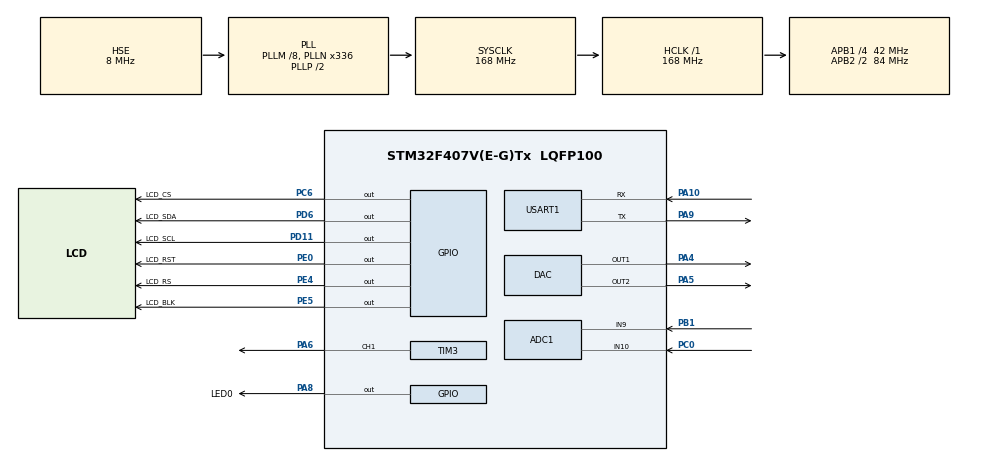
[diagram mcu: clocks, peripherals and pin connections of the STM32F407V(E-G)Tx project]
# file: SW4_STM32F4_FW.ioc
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ADC1.Channel-0\#ChannelRegularConversion=ADC_CHANNEL_9
ADC1.Channel-1\#ChannelRegularConversion=ADC_CHANNEL_10
ADC1.Channel-2\#ChannelRegularConversion=ADC_CHANNEL_TEMPSENSOR
ADC1.ContinuousConvMode=ENABLE
ADC1.DMAContinuousRequests=ENABLE
ADC1.NbrOfConversion=3
ADC1.NbrOfConversionFlag=1
ADC1.Rank-0\#ChannelRegularConversion=1
ADC1.Rank-1\#ChannelRegularConversion=2
ADC1.Rank-2\#ChannelRegularConversion=3
ADC1.SamplingTime-0\#ChannelRegularConversion=ADC_SAMPLETIME_3CYCLES
ADC1.SamplingTime-1\#ChannelRegularConversion=ADC_SAMPLETIME_3CYCLES
ADC1.SamplingTime-2\#ChannelRegularConversion=ADC_SAMPLETIME_3CYCLES
ADC1.ScanConvMode=ENABLE
ADC1.master=1
DAC.DAC_Trigger=DAC_TRIGGER_T6_TRGO
DAC.DAC_Trigger2=DAC_TRIGGER_T6_TRGO
DAC.TriangleAmplitude=DAC_TRIANGLEAMPLITUDE_255
DAC.WaveGeneration=TriangleWaveGeneration
Dma.ADC1.0.Direction=DMA_PERIPH_TO_MEMORY
Dma.ADC1.0.FIFOMode=DMA_FIFOMODE_DISABLE
Dma.ADC1.0.Instance=DMA2_Stream0
Dma.ADC1.0.MemDataAlignment=DMA_MDATAALIGN_HALFWORD
Dma.ADC1.0.MemInc=DMA_MINC_ENABLE
Dma.ADC1.0.Mode=DMA_NORMAL
Dma.ADC1.0.PeriphDataAlignment=DMA_PDATAALIGN_HALFWORD
Dma.ADC1.0.PeriphInc=DMA_PINC_DISABLE
Dma.ADC1.0.Priority=DMA_PRIORITY_LOW
Dma.DAC1.1.Direction=DMA_MEMORY_TO_PERIPH
Dma.DAC1.1.FIFOMode=DMA_FIFOMODE_DISABLE
Dma.DAC1.1.Instance=DMA1_Stream5
Dma.DAC1.1.MemDataAlignment=DMA_MDATAALIGN_HALFWORD
Dma.DAC1.1.MemInc=DMA_MINC_ENABLE
Dma.DAC1.1.Mode=DMA_NORMAL
Dma.DAC1.1.PeriphDataAlignment=DMA_PDATAALIGN_HALFWORD
Dma.DAC1.1.PeriphInc=DMA_PINC_DISABLE
Dma.DAC1.1.Priority=DMA_PRIORITY_LOW
Dma.DAC2.2.Direction=DMA_MEMORY_TO_PERIPH
Dma.DAC2.2.FIFOMode=DMA_FIFOMODE_DISABLE
Dma.DAC2.2.Instance=DMA1_Stream6
Dma.DAC2.2.MemDataAlignment=DMA_MDATAALIGN_HALFWORD
Dma.DAC2.2.MemInc=DMA_MINC_ENABLE
Dma.DAC2.2.Mode=DMA_CIRCULAR
Dma.DAC2.2.PeriphDataAlignment=DMA_PDATAALIGN_HALFWORD
Dma.DAC2.2.PeriphInc=DMA_PINC_DISABLE
Dma.DAC2.2.Priority=DMA_PRIORITY_LOW
Dma.Request0=ADC1
Dma.Request1=DAC1
Dma.Request2=DAC2
Mcu.Family=STM32F4
Mcu.Name=STM32F407V(E-G)Tx
Mcu.Package=LQFP100
NVIC.ADC_IRQn=true\:2\:0\:true\:false\:true\:true\:true
NVIC.DMA1_Stream5_IRQn=true\:0\:0\:false\:false\:true\:false\:true
NVIC.DMA1_Stream6_IRQn=true\:0\:0\:false\:false\:true\:false\:true
NVIC.DMA2_Stream0_IRQn=true\:1\:0\:true\:false\:true\:false\:true
NVIC.PriorityGroup=NVIC_PRIORITYGROUP_4
NVIC.TIM3_IRQn=true\:2\:0\:true\:false\:true\:true\:true
NVIC.USART1_IRQn=true\:1\:0\:true\:false\:true\:true\:true
PA10.Mode=Asynchronous
PA10.Signal=USART1_RX
PA13.Mode=Serial_Wire
PA13.Signal=SYS_JTMS-SWDIO
PA14.Mode=Serial_Wire
PA14.Signal=SYS_JTCK-SWCLK
PA4.Signal=COMP_DAC1_group
PA5.Signal=COMP_DAC2_group
PA6.Signal=S_TIM3_CH1
PA8.GPIO_Label=LED0
PA8.GPIO_PuPd=GPIO_PULLDOWN
PA8.PinState=GPIO_PIN_SET
PA8.Signal=GPIO_Output
PA9.Mode=Asynchronous
PA9.Signal=USART1_TX
PB1.Signal=ADCx_IN9
PC0.Signal=ADCx_IN10
PC14-OSC32_IN.Mode=LSE-External-Oscillator
PC14-OSC32_IN.Signal=RCC_OSC32_IN
PC15-OSC32_OUT.Mode=LSE-External-Oscillator
PC15-OSC32_OUT.Signal=RCC_OSC32_OUT
PC6.GPIO_Label=LCD_CS
PC6.GPIO_PuPd=GPIO_PULLUP
PC6.GPIO_Speed=GPIO_SPEED_FREQ_VERY_HIGH
PC6.PinState=GPIO_PIN_SET
PC6.Signal=GPIO_Output
PD11.GPIO_Label=LCD_SCL
PD11.GPIO_PuPd=GPIO_PULLUP
PD11.GPIO_Speed=GPIO_SPEED_FREQ_VERY_HIGH
PD11.PinState=GPIO_PIN_SET
PD11.Signal=GPIO_Output
PD6.GPIO_Label=LCD_SDA
PD6.GPIO_PuPd=GPIO_PULLUP
PD6.GPIO_Speed=GPIO_SPEED_FREQ_VERY_HIGH
PD6.PinState=GPIO_PIN_SET
PD6.Signal=GPIO_Output
PE0.GPIO_Label=LCD_RST
PE0.GPIO_PuPd=GPIO_PULLUP
PE0.GPIO_Speed=GPIO_SPEED_FREQ_VERY_HIGH
PE0.PinState=GPIO_PIN_SET
PE0.Signal=GPIO_Output
PE4.GPIO_Label=LCD_RS
PE4.GPIO_PuPd=GPIO_PULLUP
PE4.GPIO_Speed=GPIO_SPEED_FREQ_VERY_HIGH
PE4.PinState=GPIO_PIN_SET
PE4.Signal=GPIO_Output
PE5.GPIO_Label=LCD_BLK
PE5.GPIO_PuPd=GPIO_PULLUP
PE5.GPIO_Speed=GPIO_SPEED_FREQ_VERY_HIGH
PE5.PinState=GPIO_PIN_SET
PE5.Signal=GPIO_Output
PH0-OSC_IN.Mode=HSE-External-Oscillator
PH0-OSC_IN.Signal=RCC_OSC_IN
PH1-OSC_OUT.Mode=HSE-External-Oscillator
PH1-OSC_OUT.Signal=RCC_OSC_OUT
ProjectManager.HeapSize=0x200
ProjectManager.StackSize=0x400
ProjectManager.TargetToolchain=SW4STM32
RCC.48MHZClocksFreq_Value=84000000
RCC.AHBFreq_Value=168000000
RCC.APB1CLKDivider=RCC_HCLK_DIV4
RCC.APB1Freq_Value=42000000
RCC.APB1TimFreq_Value=84000000
RCC.APB2CLKDivider=RCC_HCLK_DIV2
RCC.APB2Freq_Value=84000000
RCC.APB2TimFreq_Value=168000000
RCC.CortexFreq_Value=168000000
RCC.HCLKFreq_Value=168000000
RCC.HSE_VALUE=8000000
RCC.HSI_VALUE=16000000
RCC.PLLM=8
RCC.PLLN=336
RCC.PLLSourceVirtual=RCC_PLLSOURCE_HSE
RCC.SYSCLKFreq_VALUE=168000000
RCC.SYSCLKSource=RCC_SYSCLKSOURCE_PLLCLK
RCC.VCOOutputFreq_Value=336000000
SH.ADCx_IN10.0=ADC1_IN10,IN10
SH.ADCx_IN9.0=ADC1_IN9,IN9
SH.COMP_DAC1_group.0=DAC_OUT1,DAC_OUT1
SH.COMP_DAC2_group.0=DAC_OUT2,DAC_OUT2
SH.S_TIM3_CH1.0=TIM3_CH1,PWM Generation1 CH1
TIM3.AutoReloadPreload=TIM_AUTORELOAD_PRELOAD_DISABLE
TIM3.Channel-PWM\ Generation1\ CH1=TIM_CHANNEL_1
TIM3.Period=999
TIM3.Prescaler=83
TIM3.Pulse-PWM\ Generation1\ CH1=0
TIM6.AutoReloadPreload=TIM_AUTORELOAD_PRELOAD_ENABLE
TIM6.Period=20
TIM6.TIM_MasterOutputTrigger=TIM_TRGO_UPDATE
USART1.VirtualMode=VM_ASYNC
VP_ADC1_TempSens_Input.Mode=IN-TempSens
VP_TIM3_VS_ClockSourceINT.Mode=Internal
VP_TIM6_VS_ClockSourceINT.Mode=Enable_Timer
board=custom

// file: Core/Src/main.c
/* USER CODE BEGIN Header */
/**
  ******************************************************************************
  * @file           : main.c
  * @brief          : Main program body
  ******************************************************************************
  * @attention
  *
  * <h2><center>&copy; Copyright (c) 2022 STMicroelectronics.
  * All rights reserved.</center></h2>
  *
  * This software component is licensed by ST under BSD 3-Clause license,
  * the "License"; You may not use this file except in compliance with the
  * License. You may obtain a copy of the License at:
  *                        opensource.org/licenses/BSD-3-Clause
  *
  ******************************************************************************
  */
/* USER CODE END Header */
#include "main.h"
#include "adc.h"
#include "dac.h"
#include "dma.h"
#include "tim.h"
#include "usart.h"
#include "gpio.h"

/* USER CODE BEGIN Includes */
#include "delay.h"
#include "GUI.h"
#include "Lcd_Driver.h"
#include "adc_function.h"
#include "ntc.h"
#include "fft.h"
#include "arm_math.h"
#include "dac_function.h"
/* USER CODE END Includes */

/* USER CODE BEGIN PV */
volatile uint16_t pulse = 0;
__IO uint8_t uart1_rx_buf[5];
__IO uint8_t Rx_Flag;

/* USER CODE END PV */

void SystemClock_Config(void);

int main(void)
{

  /* MCU Configuration--------------------------------------------------------*/

  /* Reset of all peripherals, Initializes the Flash interface and the Systick. */
  HAL_Init();

  /* Configure the system clock */
  SystemClock_Config();

  /* Initialize all configured peripherals */
  MX_GPIO_Init();
  MX_DMA_Init();
  MX_ADC1_Init();
  MX_DAC_Init();
  MX_TIM6_Init();
  MX_TIM3_Init();
  MX_USART1_UART_Init();
  /* USER CODE BEGIN 2 */
    //初始化液晶屏以及延时函数
    delay_init(168);
    Lcd_Init();
    LCD_BLK_SET;//开启背光
    Lcd_Clear(BLACK);
    //函数数组生成
    windows(1);//加窗并生成窗函数
    DSP_Sine();
    //启动定时器
    HAL_TIM_PWM_Start(&htim3, TIM_CHANNEL_1);
    HAL_TIM_Base_Start_IT(&htim3);
    HAL_TIM_Base_Start(&htim6);
    //三角波
    HAL_DAC_Start(&hdac, DAC_CHANNEL_1);
    //正弦波
    HAL_DAC_Start_DMA(&hdac, DAC_CHANNEL_2, (uint32_t *) DAC_Outputbuf, FFT_Len, DAC_ALIGN_12B_R);
    //启动ADC&&DAC
    HAL_ADC_Start_DMA(&hadc1, (uint32_t *) &ADC_Value, 768);
    //绘制静态数据
    Gui_DrawFont_GBK16(0, 0, WHITE, BLACK, "FW-FFT-SIG");
    Gui_DrawFont_GBK16(0, 20, YELLOW, BLACK, "MCU_TEMP:");
    Gui_DrawFont_GBK16(0, 36, YELLOW, BLACK, "NTC_TEMP:");
    Gui_DrawFont_GBK16(100, 36, YELLOW, BLACK, "℃");
    Gui_DrawFont_GBK16(100, 20, YELLOW, BLACK, "℃");
    //启动串口
    HAL_UART_Receive_IT(&huart1, (uint8_t *) uart1_rx_buf, 5);

  /* USER CODE END 2 */

  /* Infinite loop */
    while (1)
    {

    /* USER CODE BEGIN 3 */
        delay_ms(2);
        HAL_ADC_Stop_DMA(&hadc1);
        //采样&&发生
        ADC_FUNCTION();
        TEMP_DATA();
        //温度显示
        LCD_ShowNum(70, 20, MCU_TEMP, 3);//芯片温度
        LCD_ShowNum(70, 36, NTC_TEMP, 3);//NTC温度
        //绘制波形&&局部清屏
        LCD_DrawWave(ADC_IN10_Value,FFT_Len, 1, 159, 55, YELLOW);

        //串口数据测试
        if (Rx_Flag == 1)
        {
            HAL_UART_Transmit_IT(&huart1, (uint8_t *) uart1_rx_buf, 5);
            Rx_Flag = 0;
            HAL_UART_Receive_IT(&huart1, (uint8_t *) uart1_rx_buf, 5);
        }

        //快速傅里叶变换
        FFT_Function(ADC_IN10_voltage);
        LCD_DrawFFTWave(FFT_MAG_Outputdata, 1, 159, 100, Half_FFT_Len, BLUE);

        //DMA校正
        HAL_ADC_Start_DMA(&hadc1, (uint32_t *) &ADC_Value, 768);

    }
  /* USER CODE END 3 */
}

void SystemClock_Config(void)
{
  RCC_OscInitTypeDef RCC_OscInitStruct = {0};
  RCC_ClkInitTypeDef RCC_ClkInitStruct = {0};

  /** Configure the main internal regulator output voltage
  */
  __HAL_RCC_PWR_CLK_ENABLE();
  __HAL_PWR_VOLTAGESCALING_CONFIG(PWR_REGULATOR_VOLTAGE_SCALE1);
  /** Initializes the RCC Oscillators according to the specified parameters
  * in the RCC_OscInitTypeDef structure.
  */
  RCC_OscInitStruct.OscillatorType = RCC_OSCILLATORTYPE_HSE;
  RCC_OscInitStruct.HSEState = RCC_HSE_ON;
  RCC_OscInitStruct.PLL.PLLState = RCC_PLL_ON;
  RCC_OscInitStruct.PLL.PLLSource = RCC_PLLSOURCE_HSE;
  RCC_OscInitStruct.PLL.PLLM = 8;
  RCC_OscInitStruct.PLL.PLLN = 336;
  RCC_OscInitStruct.PLL.PLLP = RCC_PLLP_DIV2;
  RCC_OscInitStruct.PLL.PLLQ = 4;
  if (HAL_RCC_OscConfig(&RCC_OscInitStruct) != HAL_OK)
  {
    Error_Handler();
  }
  /** Initializes the CPU, AHB and APB buses clocks
  */
  RCC_ClkInitStruct.ClockType = RCC_CLOCKTYPE_HCLK|RCC_CLOCKTYPE_SYSCLK
                              |RCC_CLOCKTYPE_PCLK1|RCC_CLOCKTYPE_PCLK2;
  RCC_ClkInitStruct.SYSCLKSource = RCC_SYSCLKSOURCE_PLLCLK;
  RCC_ClkInitStruct.AHBCLKDivider = RCC_SYSCLK_DIV1;
  RCC_ClkInitStruct.APB1CLKDivider = RCC_HCLK_DIV4;
  RCC_ClkInitStruct.APB2CLKDivider = RCC_HCLK_DIV2;

  if (HAL_RCC_ClockConfig(&RCC_ClkInitStruct, FLASH_LATENCY_5) != HAL_OK)
  {
    Error_Handler();
  }
}

/* USER CODE BEGIN 4 */
void HAL_TIM_PeriodElapsedCallback(TIM_HandleTypeDef *htim)
{
    if (htim->Instance == TIM3)
    {
        if (pulse < 1000)
        {
            pulse++;
        } else
        {
            pulse = 0;
        }

        __HAL_TIM_SET_COMPARE(&htim3, TIM_CHANNEL_1, pulse);

    }

}

void HAL_UART_RxCpltCallback(UART_HandleTypeDef *huart)
{
    if (huart->Instance == USART1)//判断是不是串口1引起的串口接收中断（所有串口的接收中断都进这个回调函数。因此要判断一下是哪个串口引发的，中断回调函数中的内容一定要简洁，以避免阻塞）
    {
        Rx_Flag = 1;
    }
}

/* USER CODE END 4 */

void Error_Handler(void)
{
    __disable_irq();
    while (1)
    {
    }
}

/************************ (C) COPYRIGHT STMicroelectronics *****END OF FILE****/
